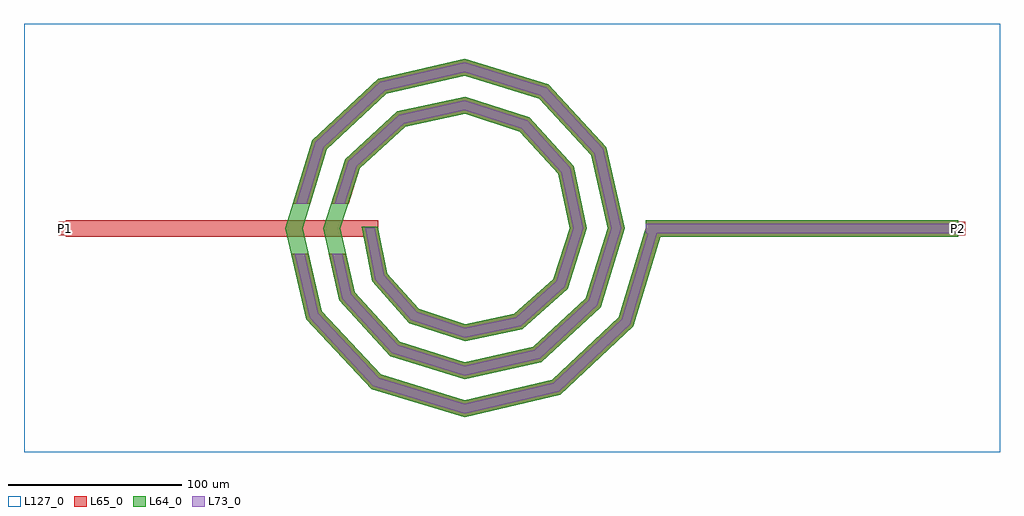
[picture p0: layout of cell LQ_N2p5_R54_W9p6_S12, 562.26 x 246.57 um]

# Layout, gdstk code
import gdstk
lib = gdstk.Library(unit=1e-6, precision=1e-09)
def R(c, l, rs):  # rectangles x0, y0, x1, y1
    for r in rs: c.add(gdstk.rectangle(r[:2], r[2:], *l))
def P(c, l, *ps):  # polygons
    for p in ps: c.add(gdstk.Polygon(p, *l))
L64_0 = (64, 0)
L65_0 = (65, 0)
L73_0 = (73, 0)
L127_0 = (127, 0)

lq_n2p5_r54_w9p6_s12 = lib.new_cell('LQ_N2p5_R54_W9p6_S12')
R(lq_n2p5_r54_w9p6_s12, L64_0, [(104.441,-4.8,284.441,4.8)])
P(lq_n2p5_r54_w9p6_s12, L64_0, [(-44.433,-25.999),(-26.399,-46.304),(0.281,-55.12),(28.706,-49.176),(51.021,-29.151),(60.581,0.257),(53.916,31.418),(31.9,55.74),(0.238,66.042),(-34.132,58.655),(-60.46,34.646),(-71.504,0.221),(-63.393,-36.849),(-37.39,-65.183),(0.206,-76.965),(39.567,-68.13),(69.906,-40.132),(82.427,0.193),(72.866,42.287),(42.873,74.63),(0.182,87.889),(-45.009,77.601),(-79.354,45.613),(-93.35,0.172),(-82.336,-47.731),(-48.352,-84.08),(0.163,-98.812),(50.455,-87.071),(88.806,-51.091),(104.646,1.387),(113.836,-1.387),(97.252,-56.33),(55.145,-95.834),(0.163,-108.746),(-53.606,-92.517),(-91.108,-52.406),(-103.284,0.172),(-87.782,50.883),(-49.667,86.382),(0.182,97.821),(48.161,83.046),(81.657,46.926),(92.359,0.193),(78.31,-45.44),(44.184,-76.932),(0.206,-86.897),(-42.72,-73.572),(-72.209,-41.441),(-81.434,0.221),(-68.834,40.002),(-38.695,67.486),(0.238,75.971),(37.286,64.094),(62.764,35.948),(70.508,0.257),(59.353,-34.573),(33.197,-58.044),(0.281,-65.045),(-31.863,-54.609),(-53.326,-30.443),(-59.324,0.957),(-49.917,0.957)])
R(lq_n2p5_r54_w9p6_s12, L65_0, [(-229.821,-4.8,-49.821,4.8), (104.441,-4.8,284.441,4.8), (-233.821,-4,-225.821,4), (280.441,-4,288.441,4)])
P(lq_n2p5_r54_w9p6_s12, L65_0, [(-82.336,-47.731),(-48.352,-84.08),(0.163,-98.812),(50.455,-87.071),(88.806,-51.091),(104.646,1.387),(113.836,-1.387),(97.252,-56.33),(55.145,-95.834),(0.163,-108.746),(-53.606,-92.517),(-91.108,-52.406),(-99.909,-14.4),(-90.055,-14.4)],
  [(-63.393,-36.849),(-37.39,-65.183),(0.206,-76.965),(39.567,-68.13),(69.906,-40.132),(82.427,0.193),(72.866,42.288),(42.874,74.63),(0.182,87.889),(-45.009,77.601),(-79.355,45.613),(-88.896,14.4),(-98.935,14.4),(-87.782,50.883),(-49.667,86.382),(0.182,97.822),(48.161,83.046),(81.657,46.926),(92.359,0.193),(78.31,-45.44),(44.184,-76.932),(0.206,-86.897),(-42.72,-73.572),(-72.209,-41.441),(-78.196,-14.4),(-68.364,-14.4)],
  [(-26.399,-46.304),(0.281,-55.12),(28.706,-49.176),(51.021,-29.151),(60.581,0.257),(53.916,31.418),(31.9,55.74),(0.238,66.042),(-34.132,58.655),(-60.46,34.646),(-66.873,14.4),(-76.943,14.4),(-68.834,40.002),(-38.696,67.486),(0.238,75.971),(37.286,64.094),(62.764,35.948),(70.508,0.257),(59.353,-34.573),(33.197,-58.044),(0.281,-65.045),(-31.863,-54.609),(-53.326,-30.443),(-59.324,0.957),(-49.917,0.957),(-44.433,-25.999)])
R(lq_n2p5_r54_w9p6_s12, L73_0, [(104.441,-2.8,284.441,2.8)])
P(lq_n2p5_r54_w9p6_s12, L73_0, [(-84.164,-48.705),(-49.447,-85.838),(0.095,-100.882),(51.432,-88.896),(90.565,-52.182),(106.561,0.809),(111.922,0.809),(95.492,-55.238),(54.168,-94.008),(0.095,-106.677),(-52.512,-90.76),(-89.28,-51.432),(-97.856,-14.4),(-92.108,-14.4)],
  [(-65.23,-37.805),(-38.5,-66.93),(0.12,-79.034),(40.529,-69.964),(71.657,-41.238),(84.496,0.113),(74.697,43.254),(43.975,76.383),(0.106,89.958),(-45.979,79.431),(-81.11,46.711),(-90.987,14.4),(-96.843,14.4),(-86.026,49.785),(-48.696,84.553),(0.106,95.752),(47.059,81.293),(79.825,45.96),(90.29,0.113),(76.559,-44.334),(43.222,-75.098),(0.12,-84.828),(-41.61,-71.825),(-70.372,-40.484),(-76.148,-14.4),(-70.412,-14.4)],
  [(-27.538,-48.034),(0.164,-57.188),(29.642,-51.023),(52.757,-30.281),(62.649,0.15),(55.759,32.361),(33.022,57.48),(0.139,68.111),(-35.083,60.495),(-62.205,35.762),(-68.971,14.4),(-74.845,14.4),(-67.09,38.886),(-37.745,65.646),(0.139,73.903),(36.164,62.354),(60.921,35.004),(68.44,0.15),(57.617,-33.443),(32.262,-56.197),(0.164,-62.978),(-30.725,-52.879),(-51.473,-29.517),(-57.364,0.558),(-51.877,0.558),(-46.286,-26.924)])
R(lq_n2p5_r54_w9p6_s12, L127_0, [(-253.821,-128.746,308.441,117.822)])
lq_n2p5_r54_w9p6_s12.add(gdstk.Label('P2', (284.441,0), layer=65, texttype=0))
lq_n2p5_r54_w9p6_s12.add(gdstk.Label('P1', (-229.821,0), layer=65, texttype=0))
lq_n2p5_r54_w9p6_s12.add(gdstk.Label('P2', (288.441,0), layer=145, texttype=0))
lq_n2p5_r54_w9p6_s12.add(gdstk.Label('P1', (-233.821,0), layer=145, texttype=0))

lib.write_gds('LQ_N2p5_R54_W9p6_S12.gds')
